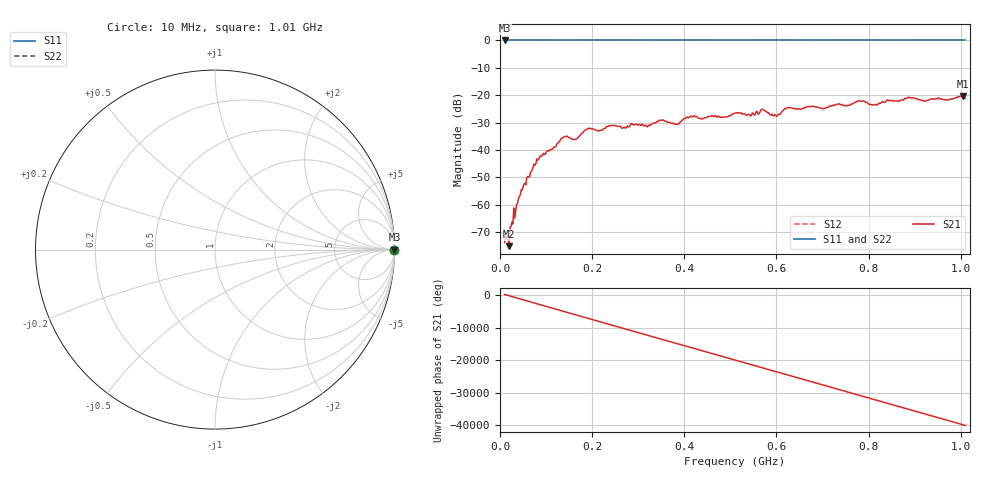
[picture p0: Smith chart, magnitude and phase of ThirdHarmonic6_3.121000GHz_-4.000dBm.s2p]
! 8/17/2025 9:15:41 AM
! C:\ANRITSUVNA\TEMP\TEMP.S2P
! CHANNEL.1
! TR.MEASUREMENT
! RAW.DATA
! RF.CORRECTION.OFF
! AVERAGING.OFF
! IF.BANDWIDTH: 5KHZ
! SWEEPTYPE:  FREQ.SWEEP(Linear)
! Reference Plane Port Info
! PORT:  PORT1  PORT2
! DISTANCE:  0  m  0  m
! TIME:  0  s  0  s
! PHASE.OFFSET:  0  deg.  0  deg.
! LOSS:  0  dB  0  dB
! REF.LOSS:  0  dB  0  dB
! REF.FREQ:  0  Hz  0  Hz
! Power Info
! POWER:  -20  dBm  -20  dBm
! EFF.POWER:  -20  dBm  -20  dBm
! SOURCE.ATTEN:  0  dB  0  dB
! TEST.ATTEN:  0  dB  0  dB
# GHZ S RI R 50.0
! FREQ.GHZ  S11RE  S11IM  S21RE  S21IM  S12RE  S12IM  S22RE  S22IM
!; PortSelection: Port_12
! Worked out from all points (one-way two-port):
!   501 points, 10 MHz to 1.01 GHz, reference 50 ohm
!   highest |S21| = -20.27 dB at 1.004 GHz (marker M1); lowest = -75.2 dB at 20 MHz (marker M2)
!   lowest |S11| = 0.0 dB at 10 MHz (marker M3)
!   |S11| at or under -10 dB: nowhere
!   |S22| runs from 0.0 to 0.0 dB; largest |S21 - S12| = 1.1
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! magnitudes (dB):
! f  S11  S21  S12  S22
! 10 MHz  0.0  -73.9  0.0  0.0
! 20 MHz  0.0  -75.2  0.0  0.0
! 26 MHz  0.0  -66.3  0.0  0.0
! 44 MHz  0.0  -56.5  0.0  0.0
! 84 MHz  0.0  -43.3  0.0  0.0
! 136 MHz  0.0  -35.7  0.0  0.0
! 164 MHz  0.0  -36.1  0.0  0.0
! 178 MHz  0.0  -33.9  0.0  0.0
! 192 MHz  0.0  -32.1  0.0  0.0
! 322 MHz  0.0  -31.2  0.0  0.0
! 344 MHz  0.0  -29.6  0.0  0.0
! 384 MHz  0.0  -30.7  0.0  0.0
! 410 MHz  0.0  -28.3  0.0  0.0
! 510 MHz  0.0  -26.6  0.0  0.0
! 548 MHz  0.0  -26.5  0.0  0.0
! 570 MHz  0.0  -25.2  0.0  0.0
! 598 MHz  0.0  -27.4  0.0  0.0
! 624 MHz  0.0  -24.6  0.0  0.0
! 678 MHz  0.0  -24.1  0.0  0.0
! 844 MHz  0.0  -22.0  0.0  0.0
! 1.004 GHz  0.0  -20.3  0.0  0.0
! 1.01 GHz  0.0  -21.1  0.0  0.0
